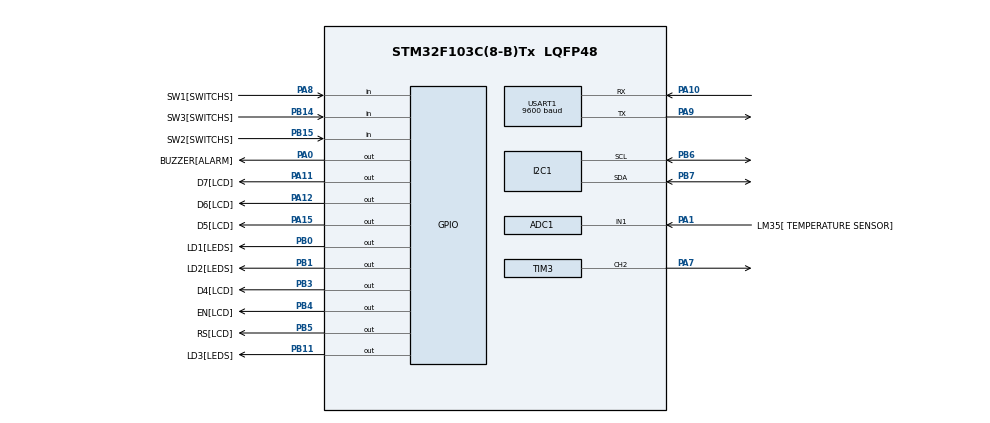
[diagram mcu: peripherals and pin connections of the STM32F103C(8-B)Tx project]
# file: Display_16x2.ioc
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ADC1.Channel-1\#ChannelRegularConversion=ADC_CHANNEL_1
ADC1.ContinuousConvMode=ENABLE
ADC1.DataAlign=ADC_DATAALIGN_RIGHT
ADC1.DiscontinuousConvMode=DISABLE
ADC1.EnableRegularConversion=ENABLE
ADC1.InjNumberOfConversion=0
ADC1.NbrOfConversionFlag=1
ADC1.Rank-1\#ChannelRegularConversion=1
ADC1.SamplingTime-1\#ChannelRegularConversion=ADC_SAMPLETIME_239CYCLES_5
ADC1.ScanConvMode=ADC_SCAN_DISABLE
ADC1.master=1
Dma.ADC1.0.Direction=DMA_PERIPH_TO_MEMORY
Dma.ADC1.0.Instance=DMA1_Channel1
Dma.ADC1.0.MemDataAlignment=DMA_MDATAALIGN_WORD
Dma.ADC1.0.MemInc=DMA_MINC_ENABLE
Dma.ADC1.0.Mode=DMA_CIRCULAR
Dma.ADC1.0.PeriphDataAlignment=DMA_PDATAALIGN_WORD
Dma.ADC1.0.PeriphInc=DMA_PINC_DISABLE
Dma.ADC1.0.Priority=DMA_PRIORITY_LOW
Dma.Request0=ADC1
Mcu.Family=STM32F1
Mcu.Name=STM32F103C(8-B)Tx
Mcu.Package=LQFP48
NVIC.ADC1_2_IRQn=true\:0\:0\:false\:false\:true\:true
NVIC.DMA1_Channel1_IRQn=true\:0\:0\:false\:false\:true\:false
NVIC.PriorityGroup=NVIC_PRIORITYGROUP_4
NVIC.TIM4_IRQn=true\:0\:0\:false\:false\:true\:true
PA0-WKUP.GPIO_Label=BUZZER[ALARM]
PA0-WKUP.Signal=GPIO_Output
PA1.GPIO_Label=LM35[ TEMPERATURE SENSOR]
PA1.Signal=ADCx_IN1
PA10.GPIO_PuPd=GPIO_NOPULL
PA10.Mode=Asynchronous
PA10.Signal=USART1_RX
PA11.GPIO_Label=D7[LCD]
PA11.Signal=GPIO_Output
PA12.GPIO_Label=D6[LCD]
PA12.Signal=GPIO_Output
PA13.Mode=Serial_Wire
PA13.Signal=SYS_JTMS-SWDIO
PA14.Mode=Serial_Wire
PA14.Signal=SYS_JTCK-SWCLK
PA15.GPIO_Label=D5[LCD]
PA15.Signal=GPIO_Output
PA7.Signal=S_TIM3_CH2
PA8.GPIO_Label=SW1[SWITCHS]
PA8.Signal=GPIO_Input
PA9.Mode=Asynchronous
PA9.Signal=USART1_TX
PB0.GPIO_Label=LD1[LEDS]
PB0.Signal=GPIO_Output
PB1.GPIO_Label=LD2[LEDS]
PB1.Signal=GPIO_Output
PB11.GPIO_Label=LD3[LEDS]
PB11.Signal=GPIO_Output
PB14.GPIO_Label=SW3[SWITCHS]
PB14.GPIO_PuPd=GPIO_NOPULL
PB14.Signal=GPIO_Input
PB15.GPIO_Label=SW2[SWITCHS]
PB15.Signal=GPIO_Input
PB3.GPIO_Label=D4[LCD]
PB3.Signal=GPIO_Output
PB4.GPIO_Label=EN[LCD]
PB4.Signal=GPIO_Output
PB5.GPIO_Label=RS[LCD]
PB5.Signal=GPIO_Output
PB6.Mode=I2C
PB6.Signal=I2C1_SCL
PB7.Mode=I2C
PB7.Signal=I2C1_SDA
ProjectManager.HeapSize=0x200
ProjectManager.StackSize=0x400
ProjectManager.TargetToolchain=TrueSTUDIO
RCC.AHBFreq_Value=8000000
RCC.APB1Freq_Value=8000000
RCC.APB1TimFreq_Value=8000000
RCC.APB2Freq_Value=8000000
RCC.APB2TimFreq_Value=8000000
RCC.HCLKFreq_Value=8000000
SH.ADCx_IN1.0=ADC1_IN1,IN1
SH.S_TIM3_CH2.0=TIM3_CH2,PWM Generation2 CH2
TIM3.Channel-PWM\ Generation2\ CH2=TIM_CHANNEL_2
TIM3.Period=100
TIM3.Prescaler=79
TIM4.Period=499
TIM4.Prescaler=7999
USART1.BaudRate=9600
USART1.VirtualMode=VM_ASYNC
VP_ADC1_TempSens_Input.Mode=IN-TempSens
VP_TIM4_VS_ClockSourceINT.Mode=Internal
board=Display_16x2

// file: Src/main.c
/**
  ******************************************************************************
  * @file           : main.c
  * @brief          : Main program body
  ******************************************************************************
  ** This notice applies to any and all portions of this file
  * that are not between comment pairs USER CODE BEGIN and
  * USER CODE END. Other portions of this file, whether
  * inserted by the user or by software development tools
  * are owned by their respective copyright owners.
  *
  * COPYRIGHT(c) 2018 STMicroelectronics
  *
  * Redistribution and use in source and binary forms, with or without modification,
  * are permitted provided that the following conditions are met:
  *   1. Redistributions of source code must retain the above copyright notice,
  *      this list of conditions and the following disclaimer.
  *   2. Redistributions in binary form must reproduce the above copyright notice,
  *      this list of conditions and the following disclaimer in the documentation
  *      and/or other materials provided with the distribution.
  *   3. Neither the name of STMicroelectronics nor the names of its contributors
  *      may be used to endorse or promote products derived from this software
  *      without specific prior written permission.
  *
  * THIS SOFTWARE IS PROVIDED BY THE COPYRIGHT HOLDERS AND CONTRIBUTORS "AS IS"
  * AND ANY EXPRESS OR IMPLIED WARRANTIES, INCLUDING, BUT NOT LIMITED TO, THE
  * IMPLIED WARRANTIES OF MERCHANTABILITY AND FITNESS FOR A PARTICULAR PURPOSE ARE
  * DISCLAIMED. IN NO EVENT SHALL THE COPYRIGHT HOLDER OR CONTRIBUTORS BE LIABLE
  * FOR ANY DIRECT, INDIRECT, INCIDENTAL, SPECIAL, EXEMPLARY, OR CONSEQUENTIAL
  * DAMAGES (INCLUDING, BUT NOT LIMITED TO, PROCUREMENT OF SUBSTITUTE GOODS OR
  * SERVICES; LOSS OF USE, DATA, OR PROFITS; OR BUSINESS INTERRUPTION) HOWEVER
  * CAUSED AND ON ANY THEORY OF LIABILITY, WHETHER IN CONTRACT, STRICT LIABILITY,
  * OR TORT (INCLUDING NEGLIGENCE OR OTHERWISE) ARISING IN ANY WAY OUT OF THE USE
  * OF THIS SOFTWARE, EVEN IF ADVISED OF THE POSSIBILITY OF SUCH DAMAGE.
  *
  ******************************************************************************
  */
#include "main.h"
#include "stm32f1xx_hal.h"

/* USER CODE BEGIN Includes */

#include <stdio.h>
#include <stdlib.h>

/* USER CODE END Includes */

ADC_HandleTypeDef hadc1;
DMA_HandleTypeDef hdma_adc1;

I2C_HandleTypeDef hi2c1;

TIM_HandleTypeDef htim3;
TIM_HandleTypeDef htim4;

UART_HandleTypeDef huart1;

/* USER CODE BEGIN PV */
/* Private variables ---------------------------------------------------------*/

float temperature = 0x00;
int adc_value = 0x00,result_adc=0x00,resultado_conv=0x00;
double current_temperature=0x00;
int pulse=50,menu;
double  ideal_value = 50.0,kp=9.2,ki=0.7,proportional,integral,derivative,pid,error_meas,measure;
char disp[20];
char disp2[2];

int segundos=0,minutos=48,horas=12,dias=4,mes=7,ano=2018,d_semana=4;

uint8_t i=0x00,tick=0x00,bissexto=0,l_dias;

char buffer[100];
uint8_t valor=0;
int size_len;

uint8_t rtc_adj[9];
uint8_t rtc_read[8];
uint8_t rtc_init[2] = {0x00, 0x00};
uint8_t rtc_radr = 0x00;

uint32_t adc_buf;
int temp;

/* USER CODE END PV */

void SystemClock_Config(void);
static void MX_GPIO_Init(void);
static void MX_DMA_Init(void);
static void MX_I2C1_Init(void);
static void MX_USART1_UART_Init(void);
static void MX_TIM3_Init(void);
static void MX_TIM4_Init(void);
static void MX_ADC1_Init(void);

void HAL_TIM_MspPostInit(TIM_HandleTypeDef *htim);

/* USER CODE BEGIN PFP */
/* Private function prototypes -----------------------------------------------*/

/* USER CODE END PFP */

/* USER CODE BEGIN 0 */

void HAL_ADC_ConvCpltCallback(ADC_HandleTypeDef* hadc)
{
	temp = adc_buf*0.95;
}

void write_lcd (uint8_t data, uint8_t cmd_data)
{
	// identifica comando ou dado
	if (cmd_data) HAL_GPIO_WritePin(RS_GPIO_Port, RS_Pin, GPIO_PIN_SET);
	else 					HAL_GPIO_WritePin(RS_GPIO_Port, RS_Pin, GPIO_PIN_RESET);

	// 4 bits high
	if (data & 0x80) HAL_GPIO_WritePin (D7_GPIO_Port, D7_Pin, GPIO_PIN_SET);
	else						 HAL_GPIO_WritePin (D7_GPIO_Port, D7_Pin, GPIO_PIN_RESET);
	if (data & 0x40) HAL_GPIO_WritePin (D6_GPIO_Port, D6_Pin, GPIO_PIN_SET);
	else						 HAL_GPIO_WritePin (D6_GPIO_Port, D6_Pin, GPIO_PIN_RESET);
	if (data & 0x20) HAL_GPIO_WritePin (D5_GPIO_Port, D5_Pin, GPIO_PIN_SET);
	else						 HAL_GPIO_WritePin (D5_GPIO_Port, D5_Pin, GPIO_PIN_RESET);
	if (data & 0x10) HAL_GPIO_WritePin (D4_GPIO_Port, D4_Pin, GPIO_PIN_SET);
	else						 HAL_GPIO_WritePin (D4_GPIO_Port, D4_Pin, GPIO_PIN_RESET);

	HAL_GPIO_WritePin(EN_GPIO_Port, EN_Pin, GPIO_PIN_SET);
	HAL_Delay(2);
	HAL_GPIO_WritePin(EN_GPIO_Port, EN_Pin, GPIO_PIN_RESET);

	// 4 bits Low
	if (data & 0x08) HAL_GPIO_WritePin (D7_GPIO_Port, D7_Pin, GPIO_PIN_SET);
	else						 HAL_GPIO_WritePin (D7_GPIO_Port, D7_Pin, GPIO_PIN_RESET);
	if (data & 0x04) HAL_GPIO_WritePin (D6_GPIO_Port, D6_Pin, GPIO_PIN_SET);
	else						 HAL_GPIO_WritePin (D6_GPIO_Port, D6_Pin, GPIO_PIN_RESET);
	if (data & 0x02) HAL_GPIO_WritePin (D5_GPIO_Port, D5_Pin, GPIO_PIN_SET);
	else						 HAL_GPIO_WritePin (D5_GPIO_Port, D5_Pin, GPIO_PIN_RESET);
	if (data & 0x01) HAL_GPIO_WritePin (D4_GPIO_Port, D4_Pin, GPIO_PIN_SET);
	else						 HAL_GPIO_WritePin (D4_GPIO_Port, D4_Pin, GPIO_PIN_RESET);

	HAL_GPIO_WritePin(EN_GPIO_Port, EN_Pin, GPIO_PIN_SET);
	HAL_Delay(2);
	HAL_GPIO_WritePin(EN_GPIO_Port, EN_Pin, GPIO_PIN_RESET);
}

/* init_LCD - Inicializa o display em 4bits */
void init_lcd(void)
{
	write_lcd(0x33, 0);
	write_lcd(0x32, 0);
	write_lcd(0x28, 0);
	write_lcd(0x06, 0);
	write_lcd(0x0C, 0);
	write_lcd(0x01, 0);
}

/* string_lcd - escreve string no LCD */
void string_lcd (char *string)
{
	while(*string) write_lcd(*string++, 1);
}

void bip()
{
	HAL_GPIO_WritePin(BUZZER_GPIO_Port,BUZZER_Pin,GPIO_PIN_SET);
	HAL_Delay(100);
	HAL_GPIO_WritePin(BUZZER_GPIO_Port,BUZZER_Pin,GPIO_PIN_RESET);
	HAL_Delay(200);

}

void calendar()
{

	write_lcd(0x80,0);
	sprintf(disp2," %02d",horas);
	string_lcd(disp2);
	write_lcd(0x83,0);
	sprintf(disp2," %02d",minutos);
	string_lcd(disp2);
	write_lcd(0x86,0);
	sprintf(disp2," %02d",segundos);
	string_lcd(disp2);
	write_lcd(0x83,0);
	string_lcd(":");
	write_lcd(0x86,0);
	string_lcd(":");
	write_lcd(0xC0,0);
	sprintf(disp2," %02d",dias);
	string_lcd(disp2);
	write_lcd(0xC3,0);
	sprintf(disp2," %02d",mes);
	string_lcd(disp2);
	write_lcd(0xC6,0);
	sprintf(disp2," %02d",ano);
	string_lcd(disp2);
	write_lcd(0xC3,0);
	string_lcd("/");
	write_lcd(0xC6,0);
	string_lcd("/");

	switch(d_semana)
	{

	case 1:
	write_lcd(0xCD,0);
	string_lcd("DOM");
	break;

	case 2:
	write_lcd(0xCD,0);
	string_lcd("SEG");
	break;

	case 3:
	write_lcd(0xCD,0);
	string_lcd("TER");
	break;

	case 4:
	write_lcd(0xCD,0);
	string_lcd("QUA");
	break;

	case 5:
	write_lcd(0xCD,0);
	string_lcd("QUI");
	break;

	case 6:
	write_lcd(0xCD,0);
	string_lcd("SEX");
	break;

	case 7:
	write_lcd(0xCD,0);
	string_lcd("SAB");
	break;

	}

	write_lcd(0x8C,0);
	sprintf(disp,"%d",temp);
	string_lcd(disp);
	write_lcd(0x8E,0);
	sprintf(disp2,"%c",0xdf);
	string_lcd(disp2);
	write_lcd(0x8F,0);
	string_lcd("C");

	HAL_Delay(3000);

}

/* USER CODE END 0 */

int main(void)
{

  /* MCU Configuration----------------------------------------------------------*/

  /* Reset of all peripherals, Initializes the Flash interface and the Systick. */
  HAL_Init();

  /* Configure the system clock */
  SystemClock_Config();

  /* Initialize all configured peripherals */
  MX_GPIO_Init();
  MX_DMA_Init();
  MX_I2C1_Init();
  MX_USART1_UART_Init();
  MX_TIM3_Init();
  MX_TIM4_Init();
  MX_ADC1_Init();
  /* USER CODE BEGIN 2 */

  	init_lcd();
	write_lcd(0x01,0);
	write_lcd(0x85,0);
	string_lcd("CNPEM");
	write_lcd(0xC5,0);
	string_lcd("LNNANO");
	HAL_Delay(2000);
	write_lcd(0x01,0);
	write_lcd(0x86,0);
    string_lcd("DSF");
	write_lcd(0xC4,0);
	string_lcd("DIVISION");
	write_lcd(0x01,0);
	HAL_TIM_PWM_Start(&htim3, TIM_CHANNEL_2);
	HAL_TIM_Base_Start_IT(&htim4);
	HAL_ADC_Start_DMA (&hadc1, &adc_buf, 1);   // start ADC with DMA

  /* USER CODE END 2 */

  /* Infinite loop */
  while (1)
  {

  /* USER CODE BEGIN 3 */

	 if(!HAL_GPIO_ReadPin(SW1_GPIO_Port,SW1_Pin)&&valor<100)
	 {
		HAL_Delay(20);
		bip();
		valor=valor+10;
		write_lcd(0x01,0);
		while(!HAL_GPIO_ReadPin(SW1_GPIO_Port,SW1_Pin));
	 }

	 if(!HAL_GPIO_ReadPin(SW2_GPIO_Port,SW2_Pin)&&valor>0)
	 {
		 HAL_Delay(20);
		 bip();
		 valor=valor-10;
		 write_lcd(0x01,0);
		 while(!HAL_GPIO_ReadPin(SW2_GPIO_Port,SW2_Pin));
	 }

	 if(!HAL_GPIO_ReadPin(SW3_GPIO_Port,SW3_Pin))
	 {
		 HAL_Delay(20);
		 bip();
		 write_lcd(0x01,0);
		 calendar();
		 write_lcd(0x01,0);
	 	while(!HAL_GPIO_ReadPin(SW3_GPIO_Port,SW3_Pin));
	 }

	 TIM3 ->CCR2 = valor;  // valor do PWM
	 write_lcd(0x85,0);
	 string_lcd("BRILHO");
	 write_lcd(0xC6,0);
	 sprintf(disp,"%03d",valor);
	 string_lcd(disp);
	 write_lcd(0xC9,0);
	 string_lcd("%");

  }
  /* USER CODE END 3 */

}

void SystemClock_Config(void)
{

  RCC_OscInitTypeDef RCC_OscInitStruct;
  RCC_ClkInitTypeDef RCC_ClkInitStruct;
  RCC_PeriphCLKInitTypeDef PeriphClkInit;

    /**Initializes the CPU, AHB and APB busses clocks
    */
  RCC_OscInitStruct.OscillatorType = RCC_OSCILLATORTYPE_HSI;
  RCC_OscInitStruct.HSIState = RCC_HSI_ON;
  RCC_OscInitStruct.HSICalibrationValue = 16;
  RCC_OscInitStruct.PLL.PLLState = RCC_PLL_NONE;
  if (HAL_RCC_OscConfig(&RCC_OscInitStruct) != HAL_OK)
  {
    _Error_Handler(__FILE__, __LINE__);
  }

    /**Initializes the CPU, AHB and APB busses clocks
    */
  RCC_ClkInitStruct.ClockType = RCC_CLOCKTYPE_HCLK|RCC_CLOCKTYPE_SYSCLK
                              |RCC_CLOCKTYPE_PCLK1|RCC_CLOCKTYPE_PCLK2;
  RCC_ClkInitStruct.SYSCLKSource = RCC_SYSCLKSOURCE_HSI;
  RCC_ClkInitStruct.AHBCLKDivider = RCC_SYSCLK_DIV1;
  RCC_ClkInitStruct.APB1CLKDivider = RCC_HCLK_DIV1;
  RCC_ClkInitStruct.APB2CLKDivider = RCC_HCLK_DIV1;

  if (HAL_RCC_ClockConfig(&RCC_ClkInitStruct, FLASH_LATENCY_0) != HAL_OK)
  {
    _Error_Handler(__FILE__, __LINE__);
  }

  PeriphClkInit.PeriphClockSelection = RCC_PERIPHCLK_ADC;
  PeriphClkInit.AdcClockSelection = RCC_ADCPCLK2_DIV2;
  if (HAL_RCCEx_PeriphCLKConfig(&PeriphClkInit) != HAL_OK)
  {
    _Error_Handler(__FILE__, __LINE__);
  }

    /**Configure the Systick interrupt time
    */
  HAL_SYSTICK_Config(HAL_RCC_GetHCLKFreq()/1000);

    /**Configure the Systick
    */
  HAL_SYSTICK_CLKSourceConfig(SYSTICK_CLKSOURCE_HCLK);

  /* SysTick_IRQn interrupt configuration */
  HAL_NVIC_SetPriority(SysTick_IRQn, 0, 0);
}

/* ADC1 init function */
static void MX_ADC1_Init(void)
{

  ADC_ChannelConfTypeDef sConfig;

    /**Common config
    */
  hadc1.Instance = ADC1;
  hadc1.Init.ScanConvMode = ADC_SCAN_DISABLE;
  hadc1.Init.ContinuousConvMode = ENABLE;
  hadc1.Init.DiscontinuousConvMode = DISABLE;
  hadc1.Init.ExternalTrigConv = ADC_SOFTWARE_START;
  hadc1.Init.DataAlign = ADC_DATAALIGN_RIGHT;
  hadc1.Init.NbrOfConversion = 1;
  if (HAL_ADC_Init(&hadc1) != HAL_OK)
  {
    _Error_Handler(__FILE__, __LINE__);
  }

    /**Configure Regular Channel
    */
  sConfig.Channel = ADC_CHANNEL_1;
  sConfig.Rank = ADC_REGULAR_RANK_1;
  sConfig.SamplingTime = ADC_SAMPLETIME_239CYCLES_5;
  if (HAL_ADC_ConfigChannel(&hadc1, &sConfig) != HAL_OK)
  {
    _Error_Handler(__FILE__, __LINE__);
  }

}

/* I2C1 init function */
static void MX_I2C1_Init(void)
{

  hi2c1.Instance = I2C1;
  hi2c1.Init.ClockSpeed = 100000;
  hi2c1.Init.DutyCycle = I2C_DUTYCYCLE_2;
  hi2c1.Init.OwnAddress1 = 0;
  hi2c1.Init.AddressingMode = I2C_ADDRESSINGMODE_7BIT;
  hi2c1.Init.DualAddressMode = I2C_DUALADDRESS_DISABLE;
  hi2c1.Init.OwnAddress2 = 0;
  hi2c1.Init.GeneralCallMode = I2C_GENERALCALL_DISABLE;
  hi2c1.Init.NoStretchMode = I2C_NOSTRETCH_DISABLE;
  if (HAL_I2C_Init(&hi2c1) != HAL_OK)
  {
    _Error_Handler(__FILE__, __LINE__);
  }

}

/* TIM3 init function */
static void MX_TIM3_Init(void)
{

  TIM_MasterConfigTypeDef sMasterConfig;
  TIM_OC_InitTypeDef sConfigOC;

  htim3.Instance = TIM3;
  htim3.Init.Prescaler = 79;
  htim3.Init.CounterMode = TIM_COUNTERMODE_UP;
  htim3.Init.Period = 100;
  htim3.Init.ClockDivision = TIM_CLOCKDIVISION_DIV1;
  htim3.Init.AutoReloadPreload = TIM_AUTORELOAD_PRELOAD_DISABLE;
  if (HAL_TIM_PWM_Init(&htim3) != HAL_OK)
  {
    _Error_Handler(__FILE__, __LINE__);
  }

  sMasterConfig.MasterOutputTrigger = TIM_TRGO_RESET;
  sMasterConfig.MasterSlaveMode = TIM_MASTERSLAVEMODE_DISABLE;
  if (HAL_TIMEx_MasterConfigSynchronization(&htim3, &sMasterConfig) != HAL_OK)
  {
    _Error_Handler(__FILE__, __LINE__);
  }

  sConfigOC.OCMode = TIM_OCMODE_PWM1;
  sConfigOC.Pulse = 0;
  sConfigOC.OCPolarity = TIM_OCPOLARITY_HIGH;
  sConfigOC.OCFastMode = TIM_OCFAST_DISABLE;
  if (HAL_TIM_PWM_ConfigChannel(&htim3, &sConfigOC, TIM_CHANNEL_2) != HAL_OK)
  {
    _Error_Handler(__FILE__, __LINE__);
  }

  HAL_TIM_MspPostInit(&htim3);

}

/* TIM4 init function */
static void MX_TIM4_Init(void)
{

  TIM_ClockConfigTypeDef sClockSourceConfig;
  TIM_MasterConfigTypeDef sMasterConfig;

  htim4.Instance = TIM4;
  htim4.Init.Prescaler = 7999;
  htim4.Init.CounterMode = TIM_COUNTERMODE_UP;
  htim4.Init.Period = 499;
  htim4.Init.ClockDivision = TIM_CLOCKDIVISION_DIV1;
  htim4.Init.AutoReloadPreload = TIM_AUTORELOAD_PRELOAD_DISABLE;
  if (HAL_TIM_Base_Init(&htim4) != HAL_OK)
  {
    _Error_Handler(__FILE__, __LINE__);
  }

  sClockSourceConfig.ClockSource = TIM_CLOCKSOURCE_INTERNAL;
  if (HAL_TIM_ConfigClockSource(&htim4, &sClockSourceConfig) != HAL_OK)
  {
    _Error_Handler(__FILE__, __LINE__);
  }

  sMasterConfig.MasterOutputTrigger = TIM_TRGO_RESET;
  sMasterConfig.MasterSlaveMode = TIM_MASTERSLAVEMODE_DISABLE;
  if (HAL_TIMEx_MasterConfigSynchronization(&htim4, &sMasterConfig) != HAL_OK)
  {
    _Error_Handler(__FILE__, __LINE__);
  }

}

/* USART1 init function */
static void MX_USART1_UART_Init(void)
{

  huart1.Instance = USART1;
  huart1.Init.BaudRate = 9600;
  huart1.Init.WordLength = UART_WORDLENGTH_8B;
  huart1.Init.StopBits = UART_STOPBITS_1;
  huart1.Init.Parity = UART_PARITY_NONE;
  huart1.Init.Mode = UART_MODE_TX_RX;
  huart1.Init.HwFlowCtl = UART_HWCONTROL_NONE;
  huart1.Init.OverSampling = UART_OVERSAMPLING_16;
  if (HAL_UART_Init(&huart1) != HAL_OK)
  {
    _Error_Handler(__FILE__, __LINE__);
  }

}

static void MX_DMA_Init(void)
{
  /* DMA controller clock enable */
  __HAL_RCC_DMA1_CLK_ENABLE();

  /* DMA interrupt init */
  /* DMA1_Channel1_IRQn interrupt configuration */
  HAL_NVIC_SetPriority(DMA1_Channel1_IRQn, 0, 0);
  HAL_NVIC_EnableIRQ(DMA1_Channel1_IRQn);

}

/** Configure pins as
        * Analog
        * Input
        * Output
        * EVENT_OUT
        * EXTI
*/
static void MX_GPIO_Init(void)
{

  GPIO_InitTypeDef GPIO_InitStruct;

  /* GPIO Ports Clock Enable */
  __HAL_RCC_GPIOA_CLK_ENABLE();
  __HAL_RCC_GPIOB_CLK_ENABLE();

  /*Configure GPIO pin Output Level */
  HAL_GPIO_WritePin(GPIOA, BUZZER_Pin|D7_Pin|D6_Pin|D5_Pin, GPIO_PIN_RESET);

  /*Configure GPIO pin Output Level */
  HAL_GPIO_WritePin(GPIOB, LD1_Pin|LD2_Pin|LD3_Pin|D4_Pin
                          |EN_Pin|RS_Pin, GPIO_PIN_RESET);

  /*Configure GPIO pins : BUZZER_Pin D7_Pin D6_Pin D5_Pin */
  GPIO_InitStruct.Pin = BUZZER_Pin|D7_Pin|D6_Pin|D5_Pin;
  GPIO_InitStruct.Mode = GPIO_MODE_OUTPUT_PP;
  GPIO_InitStruct.Speed = GPIO_SPEED_FREQ_LOW;
  HAL_GPIO_Init(GPIOA, &GPIO_InitStruct);

  /*Configure GPIO pins : LD1_Pin LD2_Pin LD3_Pin D4_Pin
                           EN_Pin RS_Pin */
  GPIO_InitStruct.Pin = LD1_Pin|LD2_Pin|LD3_Pin|D4_Pin
                          |EN_Pin|RS_Pin;
  GPIO_InitStruct.Mode = GPIO_MODE_OUTPUT_PP;
  GPIO_InitStruct.Speed = GPIO_SPEED_FREQ_LOW;
  HAL_GPIO_Init(GPIOB, &GPIO_InitStruct);

  /*Configure GPIO pins : SW3_Pin SW2_Pin */
  GPIO_InitStruct.Pin = SW3_Pin|SW2_Pin;
  GPIO_InitStruct.Mode = GPIO_MODE_INPUT;
  GPIO_InitStruct.Pull = GPIO_NOPULL;
  HAL_GPIO_Init(GPIOB, &GPIO_InitStruct);

  /*Configure GPIO pin : SW1_Pin */
  GPIO_InitStruct.Pin = SW1_Pin;
  GPIO_InitStruct.Mode = GPIO_MODE_INPUT;
  GPIO_InitStruct.Pull = GPIO_NOPULL;
  HAL_GPIO_Init(SW1_GPIO_Port, &GPIO_InitStruct);

}

void _Error_Handler(char *file, int line)
{
  while(1)
  {
  }
}

/************************ (C) COPYRIGHT STMicroelectronics *****END OF FILE****/
